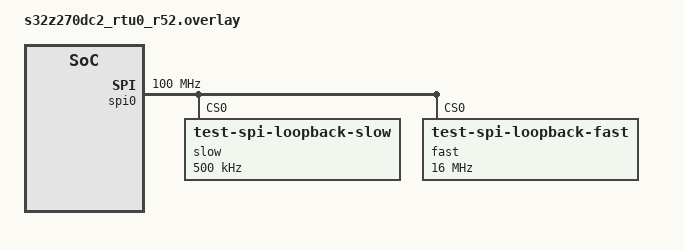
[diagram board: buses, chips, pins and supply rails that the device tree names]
/*
 * Copyright 2022 NXP
 *
 * SPDX-License-Identifier: Apache-2.0
 */

&pinctrl {
	spi0_default: spi0_default {
		group1 {
			pinmux = <PA8_DSPI_0_SOUT>, <PA6_DSPI_0_SCK_O>, <PA2_DSPI_0_PCS0_O>;
			output-enable;
		};
		group2 {
			pinmux = <PA7_DSPI_0_SIN>;
			input-enable;
		};
	};
};

&spi0 {
	pinctrl-0 = <&spi0_default>;
	pinctrl-names = "default";
	clock-frequency = <100000000>;
	status = "okay";

	slow@0 {
		compatible = "test-spi-loopback-slow";
		reg = <0>;
		spi-max-frequency = <500000>;
	};

	fast@0 {
		compatible = "test-spi-loopback-fast";
		reg = <0>;
		spi-max-frequency = <16000000>;
	};
};
